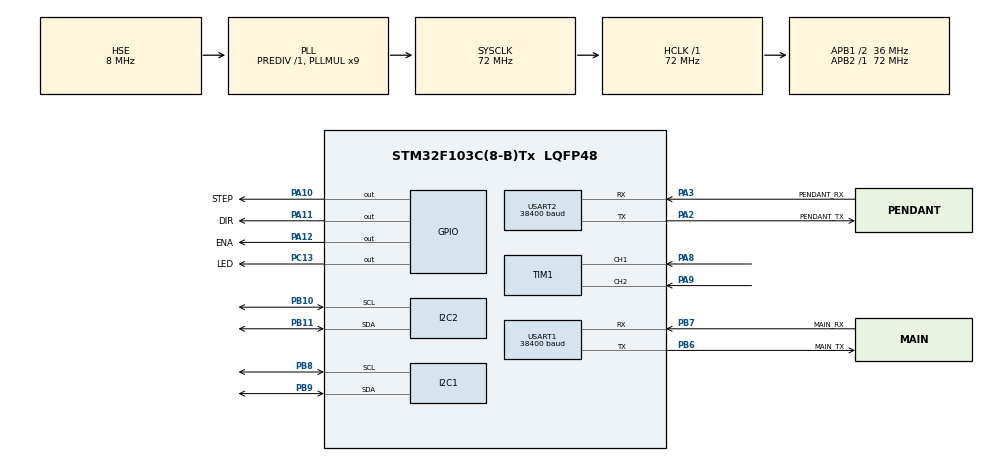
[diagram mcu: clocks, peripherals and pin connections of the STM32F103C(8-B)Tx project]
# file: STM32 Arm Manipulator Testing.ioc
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Dma.Request0=USART1_RX
Dma.Request1=USART1_TX
Dma.Request2=USART2_RX
Dma.Request3=USART2_TX
Dma.USART1_RX.0.Direction=DMA_PERIPH_TO_MEMORY
Dma.USART1_RX.0.Instance=DMA1_Channel5
Dma.USART1_RX.0.MemDataAlignment=DMA_MDATAALIGN_BYTE
Dma.USART1_RX.0.MemInc=DMA_MINC_ENABLE
Dma.USART1_RX.0.Mode=DMA_CIRCULAR
Dma.USART1_RX.0.PeriphDataAlignment=DMA_PDATAALIGN_BYTE
Dma.USART1_RX.0.PeriphInc=DMA_PINC_DISABLE
Dma.USART1_RX.0.Priority=DMA_PRIORITY_LOW
Dma.USART1_TX.1.Direction=DMA_MEMORY_TO_PERIPH
Dma.USART1_TX.1.Instance=DMA1_Channel4
Dma.USART1_TX.1.MemDataAlignment=DMA_MDATAALIGN_BYTE
Dma.USART1_TX.1.MemInc=DMA_MINC_ENABLE
Dma.USART1_TX.1.Mode=DMA_CIRCULAR
Dma.USART1_TX.1.PeriphDataAlignment=DMA_PDATAALIGN_BYTE
Dma.USART1_TX.1.PeriphInc=DMA_PINC_DISABLE
Dma.USART1_TX.1.Priority=DMA_PRIORITY_LOW
Dma.USART2_RX.2.Direction=DMA_PERIPH_TO_MEMORY
Dma.USART2_RX.2.Instance=DMA1_Channel6
Dma.USART2_RX.2.MemDataAlignment=DMA_MDATAALIGN_BYTE
Dma.USART2_RX.2.MemInc=DMA_MINC_ENABLE
Dma.USART2_RX.2.Mode=DMA_CIRCULAR
Dma.USART2_RX.2.PeriphDataAlignment=DMA_PDATAALIGN_BYTE
Dma.USART2_RX.2.PeriphInc=DMA_PINC_DISABLE
Dma.USART2_RX.2.Priority=DMA_PRIORITY_LOW
Dma.USART2_TX.3.Direction=DMA_MEMORY_TO_PERIPH
Dma.USART2_TX.3.Instance=DMA1_Channel7
Dma.USART2_TX.3.MemDataAlignment=DMA_MDATAALIGN_BYTE
Dma.USART2_TX.3.MemInc=DMA_MINC_ENABLE
Dma.USART2_TX.3.Mode=DMA_CIRCULAR
Dma.USART2_TX.3.PeriphDataAlignment=DMA_PDATAALIGN_BYTE
Dma.USART2_TX.3.PeriphInc=DMA_PINC_DISABLE
Dma.USART2_TX.3.Priority=DMA_PRIORITY_LOW
I2C1.I2C_Mode=I2C_Fast
Mcu.Family=STM32F1
Mcu.Name=STM32F103C(8-B)Tx
Mcu.Package=LQFP48
NVIC.DMA1_Channel4_IRQn=true\:0\:0\:false\:false\:true\:false\:true\:true
NVIC.DMA1_Channel5_IRQn=true\:0\:0\:false\:false\:true\:false\:true\:true
NVIC.DMA1_Channel6_IRQn=true\:0\:0\:false\:false\:true\:false\:true\:true
NVIC.DMA1_Channel7_IRQn=true\:0\:0\:false\:false\:true\:false\:true\:true
NVIC.PriorityGroup=NVIC_PRIORITYGROUP_4
NVIC.TIM1_CC_IRQn=true\:0\:0\:false\:false\:true\:true\:true\:true
PA10.GPIO_Label=STEP
PA10.GPIO_Speed=GPIO_SPEED_FREQ_HIGH
PA10.Signal=GPIO_Output
PA11.GPIO_Label=DIR
PA11.Signal=GPIO_Output
PA12.GPIO_Label=ENA
PA12.Signal=GPIO_Output
PA2.GPIO_Label=PENDANT_TX
PA2.Mode=Asynchronous
PA2.Signal=USART2_TX
PA3.GPIO_Label=PENDANT_RX
PA3.Mode=Asynchronous
PA3.Signal=USART2_RX
PA8.GPIO_PuPd=GPIO_PULLDOWN
PA8.Signal=S_TIM1_CH1
PA9.GPIO_PuPd=GPIO_PULLDOWN
PA9.Signal=S_TIM1_CH2
PB10.Mode=I2C
PB10.Signal=I2C2_SCL
PB11.Mode=I2C
PB11.Signal=I2C2_SDA
PB6.GPIO_Label=MAIN_TX
PB6.Mode=Asynchronous
PB6.Signal=USART1_TX
PB7.GPIO_Label=MAIN_RX
PB7.GPIO_PuPd=GPIO_NOPULL
PB7.Mode=Asynchronous
PB7.Signal=USART1_RX
PB8.Mode=I2C
PB8.Signal=I2C1_SCL
PB9.Mode=I2C
PB9.Signal=I2C1_SDA
PC13-TAMPER-RTC.GPIO_Label=LED
PC13-TAMPER-RTC.Signal=GPIO_Output
PD0-OSC_IN.Mode=HSE-External-Oscillator
PD0-OSC_IN.Signal=RCC_OSC_IN
PD1-OSC_OUT.Mode=HSE-External-Oscillator
PD1-OSC_OUT.Signal=RCC_OSC_OUT
ProjectManager.HeapSize=0x200
ProjectManager.StackSize=0x400
ProjectManager.TargetToolchain=MDK-ARM V5.32
RCC.AHBFreq_Value=72000000
RCC.APB1CLKDivider=RCC_HCLK_DIV2
RCC.APB1Freq_Value=36000000
RCC.APB1TimFreq_Value=72000000
RCC.APB2Freq_Value=72000000
RCC.APB2TimFreq_Value=72000000
RCC.EnbaleCSS=true
RCC.HCLKFreq_Value=72000000
RCC.PLLMUL=RCC_PLL_MUL9
RCC.PLLSourceVirtual=RCC_PLLSOURCE_HSE
RCC.SYSCLKFreq_VALUE=72000000
RCC.SYSCLKSource=RCC_SYSCLKSOURCE_PLLCLK
RCC.USBFreq_Value=72000000
SH.S_TIM1_CH1.0=TIM1_CH1,Encoder_Interface
SH.S_TIM1_CH2.0=TIM1_CH2,Encoder_Interface
TIM1.EncoderMode=TIM_ENCODERMODE_TI12
TIM1.IC1Filter=5
TIM1.IC1Polarity=TIM_ICPOLARITY_RISING
TIM1.IC2Filter=5
TIM1.IC2Polarity=TIM_ICPOLARITY_FALLING
USART1.BaudRate=38400
USART1.VirtualMode=VM_ASYNC
USART2.BaudRate=38400
USART2.VirtualMode=VM_ASYNC
VP_SYS_VS_ND.Mode=No_Debug
board=custom

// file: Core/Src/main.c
/* USER CODE BEGIN Header */
/**
  ******************************************************************************
  * @file           : main.c
  * @brief          : Main program body
  ******************************************************************************
  * @attention
  *
  * Copyright (c) 2024 STMicroelectronics.
  * All rights reserved.
  *
  * This software is licensed under terms that can be found in the LICENSE file
  * in the root directory of this software component.
  * If no LICENSE file comes with this software, it is provided AS-IS.
  *
  ******************************************************************************
  */
/* USER CODE END Header */
#include "main.h"

/* USER CODE BEGIN Includes */
#include "DWT_Delay.h"
#include "stdbool.h"
#include "math.h"
#include "stm32f1xx.h"
#include "string.h"
#include "EEPROM_lib.h"
#include "LCD_I2C.h"
/* USER CODE END Includes */

/* USER CODE BEGIN PTD */

EEPROM_t eeprom;

/* USER CODE END PTD */

I2C_HandleTypeDef hi2c1;
I2C_HandleTypeDef hi2c2;

TIM_HandleTypeDef htim1;

UART_HandleTypeDef huart1;
UART_HandleTypeDef huart2;
DMA_HandleTypeDef hdma_usart1_rx;
DMA_HandleTypeDef hdma_usart1_tx;
DMA_HandleTypeDef hdma_usart2_rx;
DMA_HandleTypeDef hdma_usart2_tx;

/* USER CODE BEGIN PV */
#define SYSTICK_LOAD (SystemCoreClock/1000000U)
#define SYSTICK_DELAY_CALIB (SYSTICK_LOAD >> 1)
#define DELAY_US(us) \
    do { \
         uint32_t start = SysTick->VAL; \
         uint32_t ticks = (us * SYSTICK_LOAD)-SYSTICK_DELAY_CALIB;  \
         while((start - SysTick->VAL) < ticks); \
    } while (0)

typedef enum{
	DIR_CW = 0x01U,
	DIR_CCW = 0x02U
}stepper_dir;

stepper_dir direction;

float
step;

double
resolution = 1.8;

int
delta_pos,
pos_now,
prev_pos;

uint8_t stored_welding_data[3];

uint8_t
encoder_A,
encoder_B;
/* USER CODE END PV */

void SystemClock_Config(void);
static void MX_GPIO_Init(void);
static void MX_DMA_Init(void);
static void MX_USART1_UART_Init(void);
static void MX_USART2_UART_Init(void);
static void MX_I2C1_Init(void);
static void MX_I2C2_Init(void);
static void MX_TIM1_Init(void);
/* USER CODE BEGIN PFP */
void stepper_run(uint16_t input_pos, uint16_t speed);
void Save_Pattern_Position(double* pos_data, uint8_t size);
/* USER CODE END PFP */

/* USER CODE BEGIN 0 */

//VARIABLE TESTING EEPROM
double var1 = 0.005;
uint8_t var2[8];
double var3;
double pos_array[3];

//VARIABLE TESTING RS232
double
posX = 15.255,
posY = 0.125,
posZ = 120.25,
send_position[3];

uint32_t receive_position[3];

int16_t
encoder_angle,
encoder_pos;

uint32_t counter;

void HAL_UART_RXCpltCallback(UART_HandleTypeDef *huart){
	if(huart->Instance == USART1){

	}
	if(huart->Instance == USART2){

	}
}

void HAL_TIM_IC_CaptureCallback(TIM_HandleTypeDef *htim){
	counter = __HAL_TIM_GET_COUNTER(htim);
	encoder_pos = (-1)*(int16_t)counter * 6;
}

/* USER CODE END 0 */

int main(void)
{

  /* MCU Configuration--------------------------------------------------------*/

  /* Reset of all peripherals, Initializes the Flash interface and the Systick. */
  HAL_Init();

  /* Configure the system clock */
  SystemClock_Config();

  /* Initialize all configured peripherals */
  MX_GPIO_Init();
  MX_DMA_Init();
  MX_USART1_UART_Init();
  MX_USART2_UART_Init();
  MX_I2C1_Init();
  MX_I2C2_Init();
  MX_TIM1_Init();
  /* USER CODE BEGIN 2 */
//	EEPROM_Init(&hi2c1, &eeprom, MEM_SIZE_256Kb, 0xA0);
	lcd_init(&hi2c2);

//	send_position[0] = posX;
//	send_position[1] = posY;
//	send_position[2] = posZ;
//
//	HAL_GPIO_WritePin(LED_GPIO_Port, LED_Pin, GPIO_PIN_SET);
//	HAL_TIM_Encoder_Start_IT(&htim1, TIM_CHANNEL_ALL);

//	int speed = 90;

	lcd_set_cursor(0, 0);
	lcd_printstr("HALO DUNIA");
  /* USER CODE END 2 */

  /* Infinite loop */
  /* USER CODE BEGIN WHILE */
  while (1)
  {
//		HAL_GPIO_WritePin(STEP_GPIO_Port, STEP_Pin, GPIO_PIN_SET);
//		DELAY_US(speed);
//		HAL_GPIO_WritePin(STEP_GPIO_Port, STEP_Pin, GPIO_PIN_RESET);
//		DELAY_US(speed);
    /* USER CODE END WHILE */

  }
}

void SystemClock_Config(void)
{
  RCC_OscInitTypeDef RCC_OscInitStruct = {0};
  RCC_ClkInitTypeDef RCC_ClkInitStruct = {0};

  /** Initializes the RCC Oscillators according to the specified parameters
  * in the RCC_OscInitTypeDef structure.
  */
  RCC_OscInitStruct.OscillatorType = RCC_OSCILLATORTYPE_HSE;
  RCC_OscInitStruct.HSEState = RCC_HSE_ON;
  RCC_OscInitStruct.HSEPredivValue = RCC_HSE_PREDIV_DIV1;
  RCC_OscInitStruct.HSIState = RCC_HSI_ON;
  RCC_OscInitStruct.PLL.PLLState = RCC_PLL_ON;
  RCC_OscInitStruct.PLL.PLLSource = RCC_PLLSOURCE_HSE;
  RCC_OscInitStruct.PLL.PLLMUL = RCC_PLL_MUL9;
  if (HAL_RCC_OscConfig(&RCC_OscInitStruct) != HAL_OK)
  {
    Error_Handler();
  }

  /** Initializes the CPU, AHB and APB buses clocks
  */
  RCC_ClkInitStruct.ClockType = RCC_CLOCKTYPE_HCLK|RCC_CLOCKTYPE_SYSCLK
                              |RCC_CLOCKTYPE_PCLK1|RCC_CLOCKTYPE_PCLK2;
  RCC_ClkInitStruct.SYSCLKSource = RCC_SYSCLKSOURCE_PLLCLK;
  RCC_ClkInitStruct.AHBCLKDivider = RCC_SYSCLK_DIV1;
  RCC_ClkInitStruct.APB1CLKDivider = RCC_HCLK_DIV2;
  RCC_ClkInitStruct.APB2CLKDivider = RCC_HCLK_DIV1;

  if (HAL_RCC_ClockConfig(&RCC_ClkInitStruct, FLASH_LATENCY_2) != HAL_OK)
  {
    Error_Handler();
  }

  /** Enables the Clock Security System
  */
  HAL_RCC_EnableCSS();
}

static void MX_I2C1_Init(void)
{

  hi2c1.Instance = I2C1;
  hi2c1.Init.ClockSpeed = 400000;
  hi2c1.Init.DutyCycle = I2C_DUTYCYCLE_2;
  hi2c1.Init.OwnAddress1 = 0;
  hi2c1.Init.AddressingMode = I2C_ADDRESSINGMODE_7BIT;
  hi2c1.Init.DualAddressMode = I2C_DUALADDRESS_DISABLE;
  hi2c1.Init.OwnAddress2 = 0;
  hi2c1.Init.GeneralCallMode = I2C_GENERALCALL_DISABLE;
  hi2c1.Init.NoStretchMode = I2C_NOSTRETCH_DISABLE;
  if (HAL_I2C_Init(&hi2c1) != HAL_OK)
  {
    Error_Handler();
  }

}

static void MX_I2C2_Init(void)
{

  hi2c2.Instance = I2C2;
  hi2c2.Init.ClockSpeed = 100000;
  hi2c2.Init.DutyCycle = I2C_DUTYCYCLE_2;
  hi2c2.Init.OwnAddress1 = 0;
  hi2c2.Init.AddressingMode = I2C_ADDRESSINGMODE_7BIT;
  hi2c2.Init.DualAddressMode = I2C_DUALADDRESS_DISABLE;
  hi2c2.Init.OwnAddress2 = 0;
  hi2c2.Init.GeneralCallMode = I2C_GENERALCALL_DISABLE;
  hi2c2.Init.NoStretchMode = I2C_NOSTRETCH_DISABLE;
  if (HAL_I2C_Init(&hi2c2) != HAL_OK)
  {
    Error_Handler();
  }

}

static void MX_TIM1_Init(void)
{

  TIM_Encoder_InitTypeDef sConfig = {0};
  TIM_MasterConfigTypeDef sMasterConfig = {0};

  htim1.Instance = TIM1;
  htim1.Init.Prescaler = 0;
  htim1.Init.CounterMode = TIM_COUNTERMODE_UP;
  htim1.Init.Period = 65535;
  htim1.Init.ClockDivision = TIM_CLOCKDIVISION_DIV1;
  htim1.Init.RepetitionCounter = 0;
  htim1.Init.AutoReloadPreload = TIM_AUTORELOAD_PRELOAD_DISABLE;
  sConfig.EncoderMode = TIM_ENCODERMODE_TI12;
  sConfig.IC1Polarity = TIM_ICPOLARITY_RISING;
  sConfig.IC1Selection = TIM_ICSELECTION_DIRECTTI;
  sConfig.IC1Prescaler = TIM_ICPSC_DIV1;
  sConfig.IC1Filter = 5;
  sConfig.IC2Polarity = TIM_ICPOLARITY_FALLING;
  sConfig.IC2Selection = TIM_ICSELECTION_DIRECTTI;
  sConfig.IC2Prescaler = TIM_ICPSC_DIV1;
  sConfig.IC2Filter = 5;
  if (HAL_TIM_Encoder_Init(&htim1, &sConfig) != HAL_OK)
  {
    Error_Handler();
  }
  sMasterConfig.MasterOutputTrigger = TIM_TRGO_RESET;
  sMasterConfig.MasterSlaveMode = TIM_MASTERSLAVEMODE_DISABLE;
  if (HAL_TIMEx_MasterConfigSynchronization(&htim1, &sMasterConfig) != HAL_OK)
  {
    Error_Handler();
  }

}

static void MX_USART1_UART_Init(void)
{

  huart1.Instance = USART1;
  huart1.Init.BaudRate = 38400;
  huart1.Init.WordLength = UART_WORDLENGTH_8B;
  huart1.Init.StopBits = UART_STOPBITS_1;
  huart1.Init.Parity = UART_PARITY_NONE;
  huart1.Init.Mode = UART_MODE_TX_RX;
  huart1.Init.HwFlowCtl = UART_HWCONTROL_NONE;
  huart1.Init.OverSampling = UART_OVERSAMPLING_16;
  if (HAL_UART_Init(&huart1) != HAL_OK)
  {
    Error_Handler();
  }

}

static void MX_USART2_UART_Init(void)
{

  huart2.Instance = USART2;
  huart2.Init.BaudRate = 38400;
  huart2.Init.WordLength = UART_WORDLENGTH_8B;
  huart2.Init.StopBits = UART_STOPBITS_1;
  huart2.Init.Parity = UART_PARITY_NONE;
  huart2.Init.Mode = UART_MODE_TX_RX;
  huart2.Init.HwFlowCtl = UART_HWCONTROL_NONE;
  huart2.Init.OverSampling = UART_OVERSAMPLING_16;
  if (HAL_UART_Init(&huart2) != HAL_OK)
  {
    Error_Handler();
  }

}

static void MX_DMA_Init(void)
{

  /* DMA controller clock enable */
  __HAL_RCC_DMA1_CLK_ENABLE();

  /* DMA interrupt init */
  /* DMA1_Channel4_IRQn interrupt configuration */
  HAL_NVIC_SetPriority(DMA1_Channel4_IRQn, 0, 0);
  HAL_NVIC_EnableIRQ(DMA1_Channel4_IRQn);
  /* DMA1_Channel5_IRQn interrupt configuration */
  HAL_NVIC_SetPriority(DMA1_Channel5_IRQn, 0, 0);
  HAL_NVIC_EnableIRQ(DMA1_Channel5_IRQn);
  /* DMA1_Channel6_IRQn interrupt configuration */
  HAL_NVIC_SetPriority(DMA1_Channel6_IRQn, 0, 0);
  HAL_NVIC_EnableIRQ(DMA1_Channel6_IRQn);
  /* DMA1_Channel7_IRQn interrupt configuration */
  HAL_NVIC_SetPriority(DMA1_Channel7_IRQn, 0, 0);
  HAL_NVIC_EnableIRQ(DMA1_Channel7_IRQn);

}

static void MX_GPIO_Init(void)
{
  GPIO_InitTypeDef GPIO_InitStruct = {0};

  /* GPIO Ports Clock Enable */
  __HAL_RCC_GPIOC_CLK_ENABLE();
  __HAL_RCC_GPIOD_CLK_ENABLE();
  __HAL_RCC_GPIOA_CLK_ENABLE();
  __HAL_RCC_GPIOB_CLK_ENABLE();

  /*Configure GPIO pin Output Level */
  HAL_GPIO_WritePin(LED_GPIO_Port, LED_Pin, GPIO_PIN_RESET);

  /*Configure GPIO pin Output Level */
  HAL_GPIO_WritePin(GPIOA, STEP_Pin|DIR_Pin|ENA_Pin, GPIO_PIN_RESET);

  /*Configure GPIO pin : LED_Pin */
  GPIO_InitStruct.Pin = LED_Pin;
  GPIO_InitStruct.Mode = GPIO_MODE_OUTPUT_PP;
  GPIO_InitStruct.Pull = GPIO_NOPULL;
  GPIO_InitStruct.Speed = GPIO_SPEED_FREQ_LOW;
  HAL_GPIO_Init(LED_GPIO_Port, &GPIO_InitStruct);

  /*Configure GPIO pin : STEP_Pin */
  GPIO_InitStruct.Pin = STEP_Pin;
  GPIO_InitStruct.Mode = GPIO_MODE_OUTPUT_PP;
  GPIO_InitStruct.Pull = GPIO_NOPULL;
  GPIO_InitStruct.Speed = GPIO_SPEED_FREQ_HIGH;
  HAL_GPIO_Init(STEP_GPIO_Port, &GPIO_InitStruct);

  /*Configure GPIO pins : DIR_Pin ENA_Pin */
  GPIO_InitStruct.Pin = DIR_Pin|ENA_Pin;
  GPIO_InitStruct.Mode = GPIO_MODE_OUTPUT_PP;
  GPIO_InitStruct.Pull = GPIO_NOPULL;
  GPIO_InitStruct.Speed = GPIO_SPEED_FREQ_LOW;
  HAL_GPIO_Init(GPIOA, &GPIO_InitStruct);

}

/* USER CODE BEGIN 4 */
void stepper_run(uint16_t input_pos, uint16_t speed){
	pos_now = input_pos;
	delta_pos = input_pos - prev_pos;

	if(pos_now > prev_pos){
		HAL_GPIO_WritePin(DIR_GPIO_Port, DIR_Pin, GPIO_PIN_SET);
		direction = DIR_CW;
	}
	else if(pos_now < prev_pos){
		HAL_GPIO_WritePin(DIR_GPIO_Port, DIR_Pin, GPIO_PIN_RESET);
		direction = DIR_CCW;
	}

	if(delta_pos < 0) step = abs(delta_pos) / resolution;
	else step = delta_pos / resolution;

	HAL_GPIO_WritePin(ENA_GPIO_Port, ENA_Pin, GPIO_PIN_RESET);

	if(input_pos != prev_pos){
		for(int i=0; i<step; i++){
			HAL_GPIO_WritePin(STEP_GPIO_Port, STEP_Pin, GPIO_PIN_SET);
			DELAY_US(speed);
			HAL_GPIO_WritePin(STEP_GPIO_Port, STEP_Pin, GPIO_PIN_RESET);
			DELAY_US(speed);
		}
	}

	prev_pos = input_pos;
}

void Save_Pattern_Position(double* pos_data, uint8_t size){
	for(int i=0; i<size; i++){
		pos_array[i] = pos_data[i];
	}
}
/* USER CODE END 4 */

void Error_Handler(void)
{
  __disable_irq();
  while (1)
  {
  }
}
